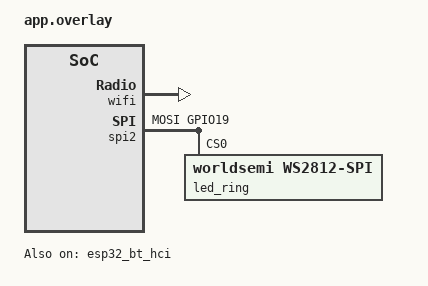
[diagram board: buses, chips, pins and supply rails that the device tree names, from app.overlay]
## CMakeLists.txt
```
cmake_minimum_required(VERSION 3.20.0)

find_package(Zephyr REQUIRED HINTS $ENV{ZEPHYR_BASE})
project(homestation_esp32)

zephyr_include_directories(${CMAKE_CURRENT_SOURCE_DIR})

add_subdirectory(src/common)
add_subdirectory(src/modules/ble)
add_subdirectory(src/modules/diagnostics)
# Not built: TRIGGER_CHAN is declared ZBUS_OBSERVERS_EMPTY, so this thread
# publishes to nothing. Restore it along with whatever subscribes.
# add_subdirectory(src/modules/trigger)
add_subdirectory(src/modules/led)
add_subdirectory(src/modules/lora)
add_subdirectory(src/modules/mqtt)
add_subdirectory(src/modules/wifi)
add_subdirectory(src/modules/error)

target_sources(app PRIVATE src/main.c)
```

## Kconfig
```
menu "Homestation ESP32"

config DEVICE_ID
	string "The FindMyCat Device ID this Homestation belongs to"

rsource "src/modules/ble/Kconfig.ble"
rsource "src/modules/trigger/Kconfig.trigger"
rsource "src/modules/lora/Kconfig.lora"
rsource "src/modules/mqtt/Kconfig.mqtt"
rsource "src/modules/wifi/Kconfig.wifi"
rsource "src/modules/error/Kconfig.error"
rsource "src/modules/led/Kconfig.led"

endmenu

menu "Zephyr Kernel"
source "Kconfig.zephyr"
endmenu
```

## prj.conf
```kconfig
# Logging
CONFIG_LOG=y
CONFIG_LOG_BACKEND_UART=y
CONFIG_CBPRINTF_FP_SUPPORT=y

# ZBus
CONFIG_ZBUS=y

# UART (for RAK3172 AT commands)
CONFIG_SERIAL=y
CONFIG_UART_INTERRUPT_DRIVEN=y
CONFIG_RING_BUFFER=y

# Device power management
CONFIG_PM_DEVICE=y
CONFIG_PM_DEVICE_RUNTIME=y

CONFIG_LED_STRIP=y
CONFIG_SPI_ESP32_INTERRUPT=y

CONFIG_ESP_SPIRAM=y
CONFIG_ESP32_WIFI_NET_ALLOC_SPIRAM=y
CONFIG_ESP_SPIRAM_BSS_RELOC_LIBS_AND_OBJS="libmodules__mbedtls.a"

# Error handling
CONFIG_REBOOT=y

# CAD receive bench test
CONFIG_LORA_TX_POWER_DBM=14

CONFIG_LORA_BEACON_INTERVAL_S=1
# Spans two of the collar's 185 ms sniffs whatever the phase; 192 cleared one
# by only ~12 ms. Must match the collar's CONFIG_LORA_LINK_PEER_PREAMBLE.
CONFIG_LORA_PING_PREAMBLE=384

CONFIG_BT=y
CONFIG_BT_OBSERVER=y
CONFIG_BT_BROADCASTER=y
CONFIG_BT_DEVICE_NAME="FindMyCatHomeStation"
CONFIG_BT_RX_STACK_SIZE=2048
CONFIG_ESP32_SW_COEXIST_ENABLE=y
CONFIG_BLE_SCANNER=y
CONFIG_BLE_BEACON=y

# WiFi station
CONFIG_WIFI=y
CONFIG_WIFI_ESP32=y
# The driver re-associates on any drop we did not ask for, including a failed
# first attempt; nothing else in the app reconnects.
CONFIG_ESP32_WIFI_STA_RECONNECT=y
CONFIG_WIFI_STA_AUTO_DHCPV4=y

# Networking
CONFIG_NETWORKING=y
CONFIG_NET_IPV4=y
CONFIG_NET_IPV6=n
CONFIG_NET_DHCPV4=y
CONFIG_NET_SOCKETS=y
CONFIG_NET_TCP=y
CONFIG_NET_UDP=y
CONFIG_DNS_RESOLVER=y
CONFIG_NET_DHCPV4_OPTION_DNS_ADDRESS=y
CONFIG_NET_L2_ETHERNET=y
CONFIG_NET_L2_WIFI_MGMT=y
CONFIG_NET_CONFIG_AUTO_INIT=n
CONFIG_NET_MAX_CONTEXTS=3
CONFIG_NET_MGMT=y
CONFIG_NET_MGMT_EVENT=y
CONFIG_NET_MGMT_EVENT_INFO=y
CONFIG_NET_MGMT_EVENT_QUEUE_SIZE=10
CONFIG_NET_TC_RX_COUNT=0
CONFIG_NET_TC_TX_COUNT=0
CONFIG_NET_MGMT_EVENT_STACK_SIZE=4096
CONFIG_NET_PKT_RX_COUNT=16
CONFIG_NET_PKT_TX_COUNT=8
CONFIG_NET_BUF_RX_COUNT=48
CONFIG_NET_BUF_TX_COUNT=16

# Geolocation lookup
CONFIG_HTTP_CLIENT=y
CONFIG_JSON_LIBRARY=y
CONFIG_HEAP_MEM_POOL_SIZE=45056

CONFIG_NET_LOG=y

CONFIG_MBEDTLS=y
CONFIG_MBEDTLS_ENABLE_HEAP=y
# Room for two live sessions: MQTT stays connected while geolocation opens its own.
CONFIG_MBEDTLS_HEAP_SIZE=90000
CONFIG_MBEDTLS_SSL_IN_CONTENT_LEN=16384
CONFIG_MBEDTLS_SSL_OUT_CONTENT_LEN=2048

CONFIG_MBEDTLS_BUILTIN=y
CONFIG_NET_SOCKETS_SOCKOPT_TLS=y
# MQTT holds one for its lifetime; the WiFi geolocation lookup needs another.
CONFIG_NET_SOCKETS_TLS_MAX_CONTEXTS=2
CONFIG_TLS_CREDENTIALS=y
CONFIG_MBEDTLS_CIPHERSUITE_TLS_ECDHE_ECDSA_WITH_AES_128_GCM_SHA256=y
CONFIG_MBEDTLS_CIPHERSUITE_TLS_ECDHE_RSA_WITH_AES_128_GCM_SHA256=y
CONFIG_PSA_WANT_KEY_TYPE_RSA_PUBLIC_KEY=y
CONFIG_PSA_WANT_KEY_TYPE_ECC_PUBLIC_KEY=y
CONFIG_PSA_WANT_ALG_SHA_384=y
CONFIG_PSA_WANT_ALG_SHA_512=y
CONFIG_MBEDTLS_PEM_PARSE_C=y

# The AES round tables are otherwise computed into RAM at init, eight 1 KB
# arrays of it. In flash they cost a handful of extra shifts per block, which
# nothing here is fast enough to notice.
CONFIG_MBEDTLS_AES_ROM_TABLES=y

CONFIG_MQTT_LIB=y
CONFIG_MQTT_LIB_TLS=y
CONFIG_MQTT_PUBLISHER=y
CONFIG_MQTT_PUBLISHER_TLS=y
CONFIG_MQTT_PUBLISHER_BROKER_PORT=8883
CONFIG_MQTT_PUBLISHER_HOME_LATITUDE="0.0"
CONFIG_MQTT_PUBLISHER_HOME_LONGITUDE="0.0"

CONFIG_MAIN_STACK_SIZE=4096
CONFIG_SYSTEM_WORKQUEUE_STACK_SIZE=2048
CONFIG_STACK_SENTINEL=y

CONFIG_LOG_MODE_IMMEDIATE=y
```

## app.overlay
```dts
/* RAK3172 LoRa module on UART1, the board's silkscreened TX/RX pins:
 * GPIO8 = TX (to RAK3172 RX), GPIO7 = RX (to RAK3172 TX). Pins and speed come
 * from the Feather's own board definition, so nothing is overridden here.
 */

/* Station mode for the geolocation lookup; disabled by default on this board */
&wifi {
	status = "okay";
};

/* Controller for the BLE tag scan. Shares the one radio with WiFi above. */
&esp32_bt_hci {
	status = "okay";
};

/ {
	aliases {
		rak3172-uart = &uart1;
		led-ring = &led_ring;
	};
};

/* Onboard NeoPixel unused; the ring is the status LED. Disabled, its power
 * domain is never claimed, so the pixel stays unpowered. */
&led_strip {
	status = "disabled";
};

/* 16-pixel SK6812 RGBW ring, DIN on the Feather's MO pin (GPIO19). It gets
 * SPI2, with only MOSI routed out so SCK and MISO stay free. Same bit timing
 * as the onboard SK6812. */
&pinctrl {
	spim2_led_ring: spim2_led_ring {
		group1 {
			pinmux = <SPIM2_MOSI_GPIO19>;
			output-low;
		};
	};
};

&spi2 {
	status = "okay";
	line-idle-low;
	/* 16 RGBW pixels are 512 SPI bytes a frame. Without DMA the driver sends
	 * 64-byte chunks, and the gaps between them latch the ring mid-frame so
	 * only a pixel or two ever updates. */
	dma-enabled;
	pinctrl-0 = <&spim2_led_ring>;
	pinctrl-names = "default";

	led_ring: ws2812@0 {
		compatible = "worldsemi,ws2812-spi";
		reg = <0>;
		spi-max-frequency = <WS2812C_SPI_FREQ>;

		chain-length = <16>;
		/* SK6812 RGBW: 32 bits a pixel, G R B W. The white channel is sent
		 * dark; colours come from RGB only. */
		color-mapping = <LED_COLOR_ID_GREEN>,
				<LED_COLOR_ID_RED>,
				<LED_COLOR_ID_BLUE>,
				<LED_COLOR_ID_WHITE>;
		spi-one-frame = <WS2812C_ONE_FRAME>;
		spi-zero-frame = <WS2812C_ZERO_FRAME>;
	};
};
```

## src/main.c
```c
#include <zephyr/kernel.h>
#include <zephyr/logging/log.h>

#include "lora.h"
#include "status_led.h"
#include "wifi_station.h"
#include "modules/diagnostics/diagnostics.h"
#if defined(CONFIG_BLE_SCANNER)
#include "ble_scanner.h"
#endif
#if defined(CONFIG_BLE_BEACON)
#include "ble_beacon.h"
#endif
#if defined(CONFIG_MQTT_PUBLISHER)
#include "mqtt_publisher.h"
#endif
#if defined(CONFIG_ESP32_SW_COEXIST_ENABLE)
#include <private/esp_coexist_internal.h>
#endif

LOG_MODULE_REGISTER(main, LOG_LEVEL_INF);

int main(void)
{
	LOG_INF("FindMyCat HomeStation ESP32 starting");

	int err = wifi_station_connect();

	if (err) {
		LOG_ERR("Error: WiFi station connect failed (%d), geolocation "
			"lookups will be skipped", err);
	}

	diagnostics_run();

#if defined(CONFIG_ESP32_SW_COEXIST_ENABLE)
	// Prefering BT for COEX as the collar only advertises so often and packets are being missed due to wifi taking up more Radio time.
	coex_preference_set(COEX_PREFER_BT);
	LOG_INF("Radio arbitration set to prefer Bluetooth");
#endif

#if defined(CONFIG_BLE_SCANNER_RUN)
	ble_scanner_start();
#endif
	/* After the scanner, which is what calls bt_enable(). */
#if defined(CONFIG_BLE_BEACON)
	ble_beacon_start();
#endif

#if defined(CONFIG_MQTT_PUBLISHER)
	mqtt_publisher_start();
#endif

	status_led_start();

	lora_start();

	LOG_INF("All modules started");

	return 0;
}
```
